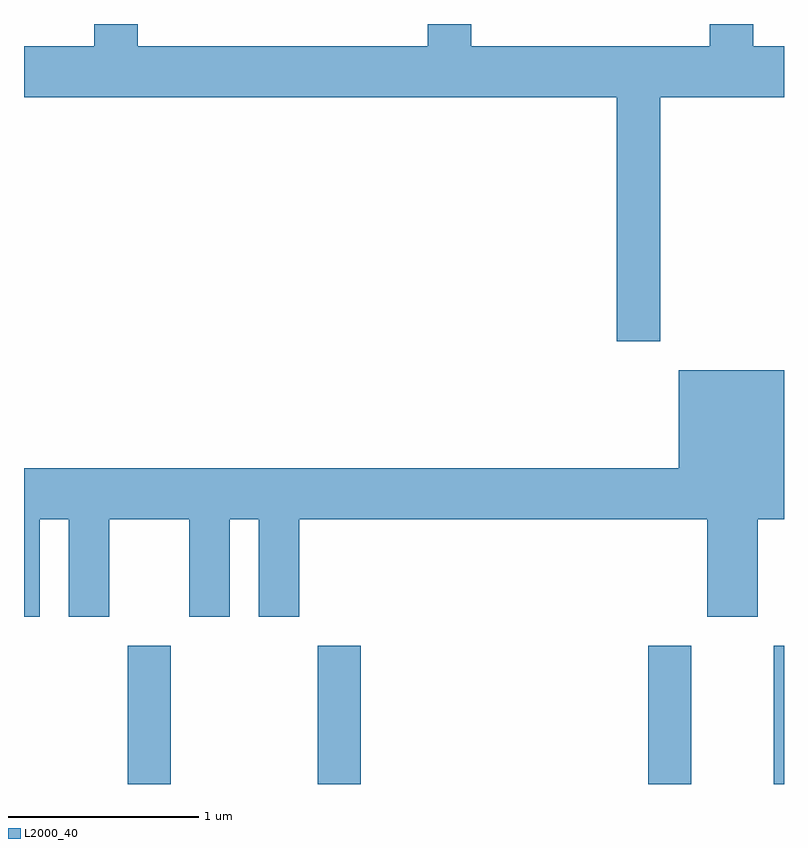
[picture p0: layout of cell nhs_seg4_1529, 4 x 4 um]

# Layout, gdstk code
import gdstk
lib = gdstk.Library(unit=1e-6, precision=1e-09)
def R(c, l, rs):  # rectangles x0, y0, x1, y1
    for r in rs: c.add(gdstk.rectangle(r[:2], r[2:], *l))
def P(c, l, *ps):  # polygons
    for p in ps: c.add(gdstk.Polygon(p, *l))
L2000_40 = (2000, 40)

nhs_seg4_1529 = lib.new_cell('nhs_seg4_1529')
R(nhs_seg4_1529, L2000_40, [(230.156,1319.982,230.384,1320.709), (231.156,1319.982,231.384,1320.709), (232.896,1319.982,233.124,1320.709), (233.556,1319.982,233.611,1320.709)])
P(nhs_seg4_1529, L2000_40, [(232.959,1323.596),(233.611,1323.596),(233.611,1323.864),(233.449,1323.864),(233.449,1323.982),(233.221,1323.982),(233.221,1323.864),(231.964,1323.864),(231.964,1323.982),(231.736,1323.982),(231.736,1323.864),(230.209,1323.864),(230.209,1323.982),(229.981,1323.982),(229.981,1323.864),(229.611,1323.864),(229.611,1323.596),(232.731,1323.596),(232.731,1322.311),(232.959,1322.311)],
  [(233.056,1321.644),(229.611,1321.644),(229.611,1320.861),(229.694,1320.861),(229.694,1321.376),(229.846,1321.376),(229.846,1320.861),(230.059,1320.861),(230.059,1321.376),(230.481,1321.376),(230.481,1320.861),(230.694,1320.861),(230.694,1321.376),(230.846,1321.376),(230.846,1320.861),(231.059,1320.861),(231.059,1321.376),(233.206,1321.376),(233.206,1320.861),(233.474,1320.861),(233.474,1321.376),(233.611,1321.376),(233.611,1322.159),(233.056,1322.159)])

lib.write_gds('nhs_seg4_1529.gds')
